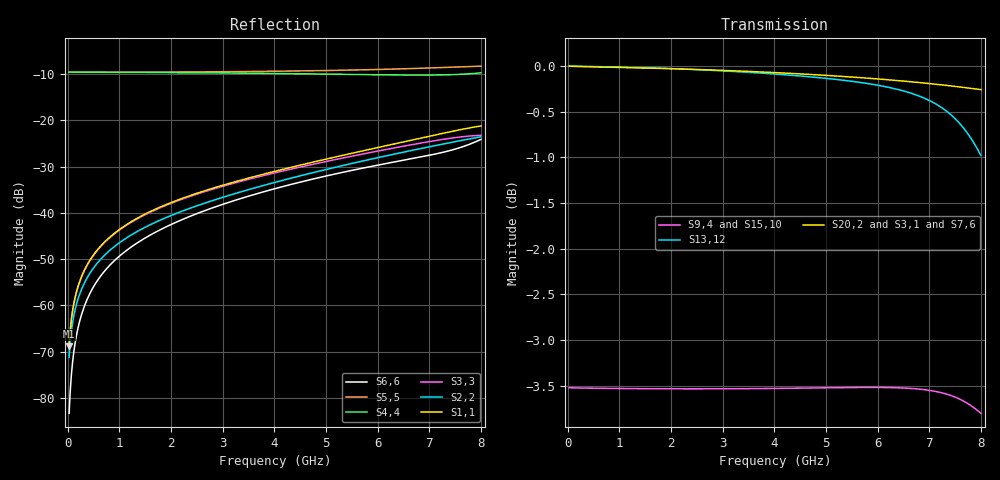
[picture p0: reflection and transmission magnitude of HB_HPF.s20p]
! Sonnet Data File
! From: em Version : 19.54.2026
! From Project: HB_HPF
! Data is De-embedded
! Data File Written: 11/09/2026 22:43:24
!< HDATE 11/09/2026 22:38:09
!< MDATE 11/09/2026 22:38:09
# GHZ S RI R 50.00000
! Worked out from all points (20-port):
!   320 points, 30 MHz to 8 GHz, reference 50 ohm
!   strongest paths, dB at 30 MHz, 2.025 GHz, 4.025 GHz, 6.025 GHz, 8 GHz:
!     S20,2: 0.0, 0.0, -0.1, -0.1, -0.3
!     S3,1: 0.0, 0.0, -0.1, -0.2, -0.4
!     S13,12: 0.0, 0.0, -0.1, -0.2, -1.0
!     S7,6: 0.0, 0.0, -0.1, -0.2, -0.9
!     S9,4: -3.5, -3.5, -3.5, -3.5, -3.8
!     S15,10: -3.5, -3.5, -3.5, -3.5, -3.9
!   lowest |S11| = -68.9 dB at 30 MHz (marker M1), VSWR 1.00, Z = 50 + j0.0333 ohm
!   |S11| at or under -10 dB: start of sweep to end of sweep
